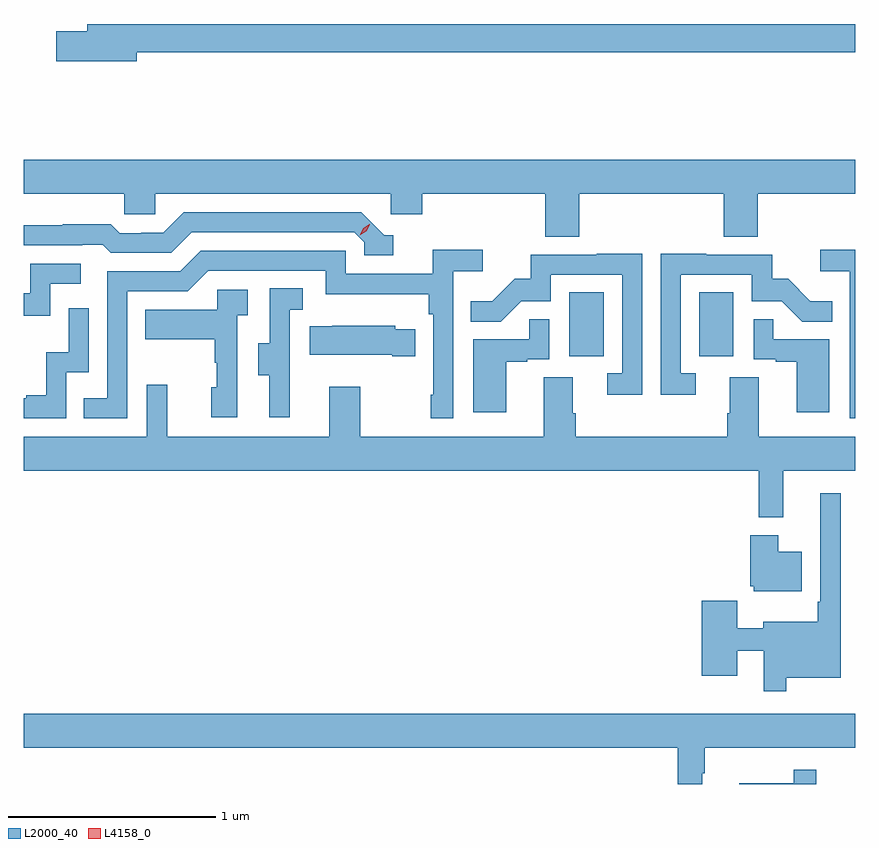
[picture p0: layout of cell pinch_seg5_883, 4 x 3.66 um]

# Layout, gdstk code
import gdstk
lib = gdstk.Library(unit=1e-6, precision=1e-09)
def R(c, l, rs):  # rectangles x0, y0, x1, y1
    for r in rs: c.add(gdstk.rectangle(r[:2], r[2:], *l))
def P(c, l, *ps):  # polygons
    for p in ps: c.add(gdstk.Polygon(p, *l))
L2000_40 = (2000, 40)
L4158_0 = (4158, 0)

pinch_seg5_883 = lib.new_cell('pinch_seg5_883')
R(pinch_seg5_883, L2000_40, [(863.33,891.942,863.494,892.249), (863.954,891.942,864.118,892.249)])
P(pinch_seg5_883, L2000_40, [(861.25,893.404),(864.705,893.404),(864.705,893.54),(861.011,893.54),(861.011,893.504),(860.862,893.504),(860.862,893.362),(861.25,893.362)],
  [(863.378,892.724),(864.071,892.724),(864.071,892.516),(864.236,892.516),(864.236,892.724),(864.705,892.724),(864.705,892.888),(860.705,892.888),(860.705,892.724),(861.189,892.724),(861.189,892.626),(861.339,892.626),(861.339,892.724),(862.47,892.724),(862.47,892.626),(862.622,892.626),(862.622,892.724),(863.213,892.724),(863.213,892.516),(863.378,892.516)],
  [(862.483,892.524),(862.44,892.524),(862.329,892.635),(861.476,892.635),(861.377,892.536),(861.27,892.536),(861.27,892.533),(861.167,892.533),(861.125,892.576),(860.892,892.576),(860.892,892.573),(860.705,892.573),(860.705,892.476),(860.987,892.476),(860.987,892.479),(861.086,892.479),(861.125,892.44),(861.414,892.44),(861.513,892.539),(862.296,892.539),(862.344,892.491),(862.344,892.428),(862.483,892.428)],
  [(861.204,892.254),(861.495,892.254),(861.594,892.353),(862.158,892.353),(862.158,892.241),(862.654,892.241),(862.654,892.145),(862.674,892.145),(862.674,891.757),(862.662,891.757),(862.662,891.645),(862.77,891.645),(862.77,892.352),(862.912,892.352),(862.912,892.454),(862.673,892.454),(862.673,892.338),(862.254,892.338),(862.254,892.449),(861.557,892.449),(861.458,892.35),(861.108,892.35),(861.108,891.741),(860.995,891.741),(860.995,891.645),(861.204,891.645)],
  [(864.705,892.454),(864.537,892.454),(864.537,892.352),(864.678,892.352),(864.678,891.645),(864.705,891.645)],
  [(863.679,892.436),(863.461,892.436),(863.461,892.431),(863.143,892.431),(863.143,892.314),(863.066,892.314),(862.959,892.207),(862.855,892.207),(862.855,892.108),(862.999,892.108),(863.097,892.206),(863.241,892.206),(863.241,892.335),(863.583,892.335),(863.583,891.861),(863.511,891.861),(863.511,891.756),(863.679,891.756)],
  [(863.938,891.861),(863.865,891.861),(863.865,892.335),(864.207,892.335),(864.207,892.206),(864.351,892.206),(864.449,892.108),(864.593,892.108),(864.593,892.207),(864.489,892.207),(864.382,892.314),(864.306,892.314),(864.306,892.431),(863.987,892.431),(863.987,892.436),(863.769,892.436),(863.769,891.756),(863.938,891.756)],
  [(860.832,892.29),(860.98,892.29),(860.98,892.386),(860.736,892.386),(860.736,892.245),(860.705,892.245),(860.705,892.137),(860.832,892.137)],
  [(861.986,891.861),(861.984,891.861),(861.984,892.165),(862.048,892.165),(862.048,892.268),(861.888,892.268),(861.888,892.005),(861.833,892.005),(861.833,891.85),(861.887,891.85),(861.887,891.648),(861.986,891.648)],
  [(861.732,892.139),(861.784,892.139),(861.784,892.263),(861.636,892.263),(861.636,892.165),(861.289,892.165),(861.289,892.025),(861.624,892.025),(861.624,891.911),(861.634,891.911),(861.634,891.792),(861.608,891.792),(861.608,891.648),(861.732,891.648)],
  [(860.91,891.864),(861.018,891.864),(861.018,892.174),(860.922,892.174),(860.922,891.962),(860.813,891.962),(860.813,891.754),(860.717,891.754),(860.717,891.741),(860.705,891.741),(860.705,891.645),(860.91,891.645)],
  [(863.026,891.915),(863.126,891.915),(863.126,891.927),(863.232,891.927),(863.232,892.121),(863.137,892.121),(863.137,892.023),(862.868,892.023),(862.868,891.672),(863.026,891.672)],
  [(864.58,892.023),(864.311,892.023),(864.311,892.121),(864.216,892.121),(864.216,891.927),(864.323,891.927),(864.323,891.915),(864.422,891.915),(864.422,891.672),(864.58,891.672)],
  [(862.589,892.072),(862.491,892.072),(862.491,892.09),(862.189,892.09),(862.189,892.087),(862.081,892.087),(862.081,891.95),(862.478,891.95),(862.478,891.943),(862.589,891.943)],
  [(864.359,891.392),(864.705,891.392),(864.705,891.556),(864.241,891.556),(864.241,891.842),(864.101,891.842),(864.101,891.668),(864.089,891.668),(864.089,891.556),(863.36,891.556),(863.36,891.668),(863.347,891.668),(863.347,891.842),(863.207,891.842),(863.207,891.556),(862.323,891.556),(862.323,891.796),(862.175,891.796),(862.175,891.556),(861.395,891.556),(861.395,891.805),(861.297,891.805),(861.297,891.556),(860.705,891.556),(860.705,891.392),(864.241,891.392),(864.241,891.167),(864.359,891.167)],
  [(864.373,890.396),(864.634,890.396),(864.634,891.283),(864.537,891.283),(864.537,890.761),(864.525,890.761),(864.525,890.665),(864.263,890.665),(864.263,890.635),(864.136,890.635),(864.136,890.767),(863.966,890.767),(863.966,890.406),(864.136,890.406),(864.136,890.526),(864.264,890.526),(864.264,890.331),(864.373,890.331)],
  [(864.448,891.001),(864.334,891.001),(864.334,891.082),(864.2,891.082),(864.2,890.835),(864.216,890.835),(864.216,890.813),(864.448,890.813)],
  [(863.968,889.937),(863.98,889.937),(863.98,890.06),(864.705,890.06),(864.705,890.224),(860.705,890.224),(860.705,890.06),(863.851,890.06),(863.851,889.885),(863.968,889.885)],
  [(864.516,889.954),(864.408,889.954),(864.408,889.888),(864.146,889.888),(864.146,889.885),(864.516,889.885)])
P(pinch_seg5_883, L4158_0, [(862.321,892.524),(862.321,892.524),(862.338,892.557),(862.368,892.576),(862.369,892.576),(862.369,892.575),(862.352,892.543),(862.321,892.524)])

lib.write_gds('pinch_seg5_883.gds')
